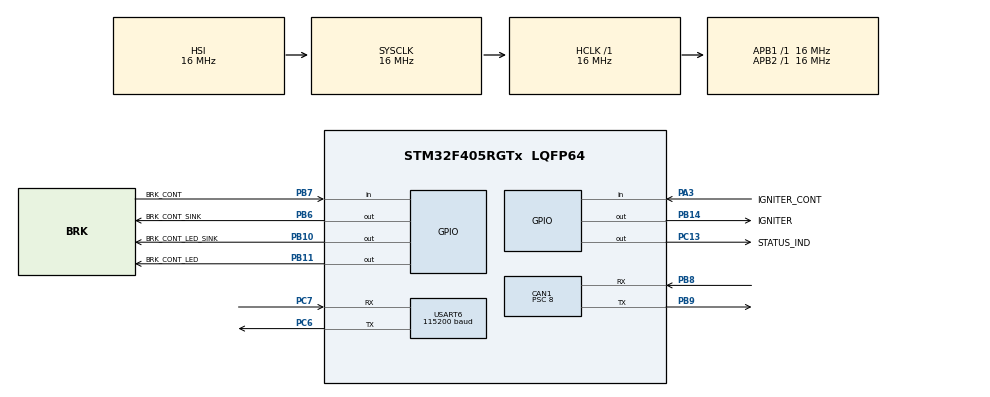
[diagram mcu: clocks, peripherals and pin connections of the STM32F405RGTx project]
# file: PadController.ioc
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CAN1.BS1=CAN_BS1_2TQ
CAN1.CalculateBaudRate=500000
CAN1.CalculateTimeBit=2000
CAN1.CalculateTimeQuantum=500.0
CAN1.Mode=CAN_MODE_NORMAL
CAN1.NART=ENABLE
CAN1.Prescaler=8
Mcu.Family=STM32F4
Mcu.Name=STM32F405RGTx
Mcu.Package=LQFP64
NVIC.CAN1_RX0_IRQn=true\:0\:0\:false\:false\:true\:true\:true\:true
NVIC.CAN1_TX_IRQn=true\:0\:0\:false\:false\:true\:true\:true\:true
NVIC.PriorityGroup=NVIC_PRIORITYGROUP_4
NVIC.USART6_IRQn=true\:0\:0\:false\:false\:true\:true\:true\:true
PA13.Mode=Serial_Wire
PA13.Signal=SYS_JTMS-SWDIO
PA14.Mode=Serial_Wire
PA14.Signal=SYS_JTCK-SWCLK
PA3.GPIO_Label=IGNITER_CONT
PA3.Signal=GPIO_Input
PB10.GPIO_Label=BRK_CONT_LED_SINK
PB10.Signal=GPIO_Output
PB11.GPIO_Label=BRK_CONT_LED
PB11.Signal=GPIO_Output
PB14.GPIO_Label=IGNITER
PB14.Signal=GPIO_Output
PB6.GPIO_Label=BRK_CONT_SINK
PB6.Signal=GPIO_Output
PB7.GPIO_Label=BRK_CONT
PB7.GPIO_PuPd=GPIO_PULLUP
PB7.Signal=GPIO_Input
PB8.Mode=CAN_Activate
PB8.Signal=CAN1_RX
PB9.Mode=CAN_Activate
PB9.Signal=CAN1_TX
PC13-ANTI_TAMP.GPIO_Label=STATUS_IND
PC13-ANTI_TAMP.Signal=GPIO_Output
PC6.GPIO_Speed=GPIO_SPEED_FREQ_LOW
PC6.Mode=Asynchronous
PC6.Signal=USART6_TX
PC7.GPIO_Speed=GPIO_SPEED_FREQ_LOW
PC7.Mode=Asynchronous
PC7.Signal=USART6_RX
ProjectManager.HeapSize=0x200
ProjectManager.StackSize=0x400
ProjectManager.TargetToolchain=STM32CubeIDE
RCC.AHBFreq_Value=16000000
RCC.APB1Freq_Value=16000000
RCC.APB2Freq_Value=16000000
RCC.CortexFreq_Value=16000000
RCC.HSE_VALUE=25000000
RCC.HSI_VALUE=16000000
RCC.LSE_VALUE=32768
RCC.SYSCLKFreq_VALUE=16000000
RCC.VCOOutputFreq_Value=192000000
USART6.BaudRate=115200
USART6.VirtualMode=VM_ASYNC
board=custom

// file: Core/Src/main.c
/* USER CODE BEGIN Header */
/**
 ******************************************************************************
 * @file            : main.c
 * @brief           : Main program body
 ******************************************************************************
 * @attention
 *
 * Copyright (c) 2025 STMicroelectronics.
 * All rights reserved.
 *
 * This software is licensed under terms that can be found in the LICENSE file
 * in the root directory of this software component.
 * If no LICENSE file comes with this software, it is provided AS-IS.
 *
 ******************************************************************************
 */
/* USER CODE END Header */
#include "main.h"

/* USER CODE BEGIN Includes */
#include <stdio.h>  // For printf, if used for debugging
#include <string.h> // For strlen, etc.
#include "stdbool.h"
#include "config/config.h"
#include "utils/board_utils.h"
#include "utils/can_utils.h"
// #include "utils/radio_utils.h" // XBee specific includes are used instead
#include "config/servo_config.h"
#include "config/heater_config.h"
#include "config/thermo_config.h"
#include "PC_state.h"
#include "igniter.h"

// XBee radio includes
#include "stm32/platform_config.h"    // Defines xbee_serial_t, XBEE_FRAME_HANDLERS, etc.
#include "stm32/xbee_platform_uart.h" // For xbee_platform_init, xbee_platform_serial, xbee_uart_isr
#include "stm32/xbee_actions.h"       // For xbee_frame_handlers, xbee_rx_packet_available/dequeue
#include "stm32/xbee_handler.h"       // For XBeeRxFrame_t, xbee_handler_*, etc.
#include "xbee/platform.h"            // Core XBee library platform types
#include "xbee/device.h"              // For xbee_dev_t, xbee_device_init, xbee_dev_tick etc.
#include "xbee/atcmd.h"               // For AT command interface, xbee_cmd_tick, xbee_next_frame_id
#include "xbee/byteorder.h"           // For htobe16(), etc.
#include "xbee/wpan.h"                // For WPAN_IEEE_ADDR_BROADCAST, etc.
#include <errno.h>                    // For error codes like ENOSPC, ETIMEDOUT
/* USER CODE END Includes */

/* USER CODE BEGIN PD */
#define NUM_BOARDS 8
#define XBEE_DEVICE_INIT_TIMEOUT_MS 10000 // Timeout for XBee library initial handshake with module
#define XBEE_AT_COMMAND_TIMEOUT_MS  5000  // Default timeout for AT commands sent via handler

#define MAX_CONSECUTIVE_XBEE_TX_FAILS 10
#define XBEE_RETRY_PERIOD_MS 10000
#define PERIODIC_ACK_INTERVAL_MS 1000
#define ACK_PENDING_TIMEOUT_MS 5000 // Timeout for an ACK waiting for TX status

// --- Define Target XBee Address ---
// Replace with your actual target XBee's 64-bit IEEE address (MSB first)

// Target XBee 1 (Commented out)
//0013A20041B3F9C6
//#define TARGET_XBEE_ADDR_64_B0 0x00 // Example byte 0 (MSB)
//#define TARGET_XBEE_ADDR_64_B1 0x13 // Example byte 1
//#define TARGET_XBEE_ADDR_64_B2 0xA2 // Example byte 2
//#define TARGET_XBEE_ADDR_64_B3 0x00 // Example byte 3
//#define TARGET_XBEE_ADDR_64_B4 0x41 // Example byte 4
//#define TARGET_XBEE_ADDR_64_B5 0xB3 // Example byte 5
//#define TARGET_XBEE_ADDR_64_B6 0xF9 // Example byte 6
//#define TARGET_XBEE_ADDR_64_B7 0xC6 // Example byte 7 (LSB)

// Target XBee 2 (Active)
//0013A2004238A3E3
#define TARGET_XBEE_ADDR_64_B0 0x00 // Example byte 0 (MSB)
#define TARGET_XBEE_ADDR_64_B1 0x13 // Example byte 1
#define TARGET_XBEE_ADDR_64_B2 0xA2 // Example byte 2
#define TARGET_XBEE_ADDR_64_B3 0x00 // Example byte 3
#define TARGET_XBEE_ADDR_64_B4 0x42 // Example byte 4
#define TARGET_XBEE_ADDR_64_B5 0x38 // Example byte 5
#define TARGET_XBEE_ADDR_64_B6 0xA3 // Example byte 6
#define TARGET_XBEE_ADDR_64_B7 0xE3 // Example byte 7 (LSB)

#define TARGET_XBEE_ADDR_16 WPAN_NET_ADDR_UNDEFINED // 0xFFFE, usually means use 64-bit address for routing
/* USER CODE END PD */

CAN_HandleTypeDef hcan1;

UART_HandleTypeDef huart6;

/* USER CODE BEGIN PV */
// Debug variables (user-defined)
// static volatile uint32_t dbg_cr1;
// volatile uint32_t dbg_iser;
// volatile bool     dbg_rxneie;
// volatile bool     dbg_irqn;
// volatile uint32_t dbg_lib_AP;
// volatile uint16_t dbg_xbee_flags;

// Global XBee communication state variables
volatile bool g_xbee_target_unreachable = false;
volatile uint32_t g_xbee_tx_fail_count = 0;
volatile uint8_t g_periodic_ack_frame_id = 0; // Stores the frame_id of the last periodic ACK sent. 0 means no ACK is pending TX status.
volatile uint32_t g_ack_pending_timestamp = 0; // Timestamp for when an ACK started waiting for TX status
volatile bool_t g_request_uart6_reinit = false;

static xbee_dev_t   xbee;

uint32_t board_uid[3];
bool servos_activated = 0;

uint32_t* no2_board_uid;
uint32_t* no3_board_uid;
uint32_t* no4_board_uid;
uint32_t* pyro_board_uid;
uint32_t* pt01_board_uid;
uint32_t* pt03_board_uid;
uint32_t* pt05_board_uid;
uint32_t* fc01_board_uid;

uint32_t no2_can_id;
uint32_t no3_can_id;
uint32_t no4_can_id;
uint32_t pyro_can_id;
uint32_t pt01_can_id;
uint32_t pt03_can_id;
uint32_t pt05_can_id;
uint32_t fc01_can_id;

uint32_t board_can_ids[NUM_BOARDS];

uint32_t current_time_ms = 0;
uint32_t prev_ack_send_time_ms = 0;
uint32_t servo_can_id;

XBeeRxFrame_t current_received_xbee_frame;
static uint8_t short_board_id;

static const addr64 g_target_xbee_ieee_addr = {
    .b = {TARGET_XBEE_ADDR_64_B0, TARGET_XBEE_ADDR_64_B1, TARGET_XBEE_ADDR_64_B2, TARGET_XBEE_ADDR_64_B3,
          TARGET_XBEE_ADDR_64_B4, TARGET_XBEE_ADDR_64_B5, TARGET_XBEE_ADDR_64_B6, TARGET_XBEE_ADDR_64_B7}
};
static const uint16_t g_target_xbee_network_addr = TARGET_XBEE_ADDR_16;

uint8_t ack_byte_value;
uint8_t tx_ack_payload[1];
uint8_t last_command_received = 0xFF; // Stores the last command byte received via XBee

/* USER CODE END PV */

void SystemClock_Config(void);
static void MX_GPIO_Init(void);
static void MX_CAN1_Init(void);
static void MX_USART6_UART_Init(void);
/* USER CODE BEGIN PFP */
// Recommendation: Implement an Independent Watchdog (IWDG) and pet it in the main loop
// void IWDG_Init(void); // Example
// void IWDG_Refresh(void); // Example
/* USER CODE END PFP */

/* USER CODE BEGIN 0 */

static void send_pad_status_response(const XBeeRxFrame_t* originating_frame, uint8_t status_code) {
    if (!originating_frame) return;

    // Before sending any response, check if the target (original sender) is considered reachable.
    // This is a simplified check. For a multi-device system, you'd need per-device reachability.
    // For now, we assume responses are critical and attempt them, but this could be expanded.
    // if (g_xbee_target_unreachable) {
    //     // printf("Target for response is currently marked unreachable. Skipping response.\r\n");
    //     return;
    // }

    uint8_t response_payload[1];
    response_payload[0] = status_code;

    int send_status = xbee_handler_send_data_frame(&xbee,
                                       &originating_frame->source_addr_64,
                                       originating_frame->source_addr_16,
                                       response_payload,
                                       sizeof(response_payload),
                                       0,
                                       XBEE_HANDLER_TX_OPT_NONE);
    if (send_status < 0) {
        // Failed to queue the response.
        // This is a non-critical response, so we might not increment global failure counters
        // unless this becomes a persistent issue.
        // printf("Error sending pad status response: %d\r\n", send_status);
    }
}

void PAD_CONTROLLER_SETUP_ROUTINE (uint32_t* board_can_ids, uint8_t numBoards){
  HAL_GPIO_TogglePin(STATUS_IND_GPIO_Port, STATUS_IND_Pin);
  HAL_Delay(500);
  HAL_GPIO_TogglePin(STATUS_IND_GPIO_Port, STATUS_IND_Pin);

  FLASH_ALL (board_can_ids, numBoards);
}

static void process_pad_controller_command(XBeeRxFrame_t* received_xbee_frame) {
    if (received_xbee_frame == NULL || received_xbee_frame->length == 0) {
        return;
    }
    uint8_t command = received_xbee_frame->payload[0];
    HAL_GPIO_TogglePin(STATUS_IND_GPIO_Port, STATUS_IND_Pin);
    switch (command) {
        case SIGNAL_ALL:
            FLASH_ALL (board_can_ids, NUM_BOARDS);
            break;
        case REPORT_ALL:
            break;
        case ACTIVATE_SERVOS:
            servos_activated = 1;
            break;
        case DEACTIVATE_SERVOS:
            servos_activated = 0;
            break;
        case OPEN_NO2:
            if (servos_activated) {
                Update_Ack(&ack_byte_value, 5, 0);
                servo_can_id = GET_SERVO_CAN_ID (no2_board_uid, 1);
                ACTUATE_SERVO(servo_can_id, OPEN_SERVO);
            }
            break;
        case CLOSE_NO2:
            if (servos_activated) {
                Update_Ack(&ack_byte_value, 5, 1);
                servo_can_id = GET_SERVO_CAN_ID (no2_board_uid, 1);
                ACTUATE_SERVO(servo_can_id, CLOSE_SERVO);
            }
            break;
        case OPEN_NO3:
            if (servos_activated) {
                Update_Ack(&ack_byte_value, 4, 0);
                servo_can_id = GET_SERVO_CAN_ID (no3_board_uid, 1);
                ACTUATE_SERVO(servo_can_id, OPEN_SERVO);
            }
            break;
        case CLOSE_NO3:
            if (servos_activated) {
                Update_Ack(&ack_byte_value, 4, 1);
                servo_can_id = GET_SERVO_CAN_ID (no3_board_uid, 1);
                ACTUATE_SERVO(servo_can_id, CLOSE_SERVO);
            }
            break;
        case OPEN_NO4:
            if (servos_activated) {
                Update_Ack(&ack_byte_value, 3, 0);
                servo_can_id = GET_SERVO_CAN_ID (no4_board_uid, 1);
                ACTUATE_SERVO(servo_can_id, OPEN_SERVO);
            }
            break;
        case CLOSE_NO4:
            if (servos_activated) {
                Update_Ack(&ack_byte_value, 3, 1);
                servo_can_id = GET_SERVO_CAN_ID (no4_board_uid, 1);
                ACTUATE_SERVO(servo_can_id, CLOSE_SERVO);
            }
            break;
        case OPEN_PYRO:
            if (servos_activated) {
                Update_Ack(&ack_byte_value, 1, 0);
                servo_can_id = GET_SERVO_CAN_ID (pyro_board_uid, 1);
                ACTUATE_SERVO(servo_can_id, OPEN_SERVO);
            }
            break;
        case CLOSE_PYRO:
            if (servos_activated) {
                Update_Ack(&ack_byte_value, 1, 1);
                servo_can_id = GET_SERVO_CAN_ID (pyro_board_uid, 1);
                ACTUATE_SERVO(servo_can_id, CLOSE_SERVO);
            }
            break;
        case CMD_BOARD_STATUS_REQUEST:
        	Report_All_PadController_States();
        	STATUS_ALL_Start();
        	break;
        case MSG_TYPE_RESET:
        	NVIC_SystemReset();
        default:
            break;
    }
}

void send_pad_controller_status_can(uint8_t component_type, uint8_t status_byte) {
    uint8_t instance = 0; // Usually instance 0 for these statuses
    uint32_t can_id_29bit;
    uint8_t xbee_payload[4 + 1]; // 4 bytes ID + 1 byte data
    size_t xbee_payload_len = 5;
    uint32_t can_id_for_xbee_32bit;

    // 1. Build the 32-bit CAN ID
    // Sender=PadCtrl(1), Board=ControlPanel(5), CompType=variable, Inst=0
    can_id_for_xbee_32bit = build_can_extended_id(
		short_board_id,
		SENDER_CONTROL_PANEL,
        component_type,
        instance
    );

//    // 2. Convert to 32-bit shifted format for XBee payload
//    can_id_for_xbee_32bit = can_id_29bit << 3;

    // 3. Populate XBee payload buffer (Big Endian)
    xbee_payload[0] = (uint8_t)((can_id_for_xbee_32bit >> 24) & 0xFF);
    xbee_payload[1] = (uint8_t)((can_id_for_xbee_32bit >> 16) & 0xFF);
    xbee_payload[2] = (uint8_t)((can_id_for_xbee_32bit >> 8) & 0xFF);
    xbee_payload[3] = (uint8_t)(can_id_for_xbee_32bit & 0xFF);
    xbee_payload[4] = status_byte; // Data payload

    // 4. Send via XBee
    // Use Frame ID 0 for no specific TX status needed for broadcasts
    int send_status = xbee_handler_send_byte_array(
        &xbee,
        &g_target_xbee_ieee_addr,
        g_target_xbee_network_addr,
        xbee_payload,
        xbee_payload_len,
        0, // Frame ID 0
        0  // Options
    );

    if (send_status < 0) {
        // Log XBee send error (implement your logging)
        // printf("Error sending CAN status type %d via XBee: %d\n", component_type, send_status);
    } else {
        // Log success if needed
        // printf("Sent CAN status type %d via XBee.\n", component_type);
    }
}

void send_servos_power_status_can(bool is_on) {
    uint8_t status_byte = is_on ? 1 : 0;
    send_pad_controller_status_can(MSG_TYPE_SERVOS_POWER_STATUS, status_byte);
}

void Report_All_PadController_States(void) {
    // Call each individual sender function
    send_breakwire_status_can(isAutoArmed);
    send_igniter_status_can(igniterState);
    // Determine 'auto mode on' based on pcState
    send_auto_mode_status_can(pcState == PC_AUTO_ON || pcState == PC_DELAY || pcState == PC_FIRE || pcState == PC_OPEN);
    send_servos_power_status_can(servos_activated);
    send_pc_state_can(pcState);

    // TODO: Add calls to report status for other components managed by Pad Controller if any
}

/* USER CODE END 0 */

int main(void)
{

  /* MCU Configuration--------------------------------------------------------*/

  /* Reset of all peripherals, Initializes the Flash interface and the Systick. */
  HAL_Init();

  /* Configure the system clock */
  SystemClock_Config();

  /* USER CODE BEGIN SysInit */
  // Recommendation: Initialize Independent Watchdog (IWDG) here if used
  // MX_IWDG_Init(); // Assuming you have this function if IWDG is enabled in CubeMX
  /* USER CODE END SysInit */

  /* Initialize all configured peripherals */
  MX_GPIO_Init();
  MX_CAN1_Init();
  MX_USART6_UART_Init();
  /* USER CODE BEGIN 2 */
  HAL_GPIO_TogglePin(STATUS_IND_GPIO_Port, STATUS_IND_Pin);
  HAL_Delay(3000); // Initial status indication
  HAL_GPIO_TogglePin(STATUS_IND_GPIO_Port, STATUS_IND_Pin);

  // Enable UsageFault, BusFault, and MemManage Faults
  SCB->SHCSR |= SCB_SHCSR_USGFAULTENA_Msk
              |  SCB_SHCSR_BUSFAULTENA_Msk
              |  SCB_SHCSR_MEMFAULTENA_Msk;

  GET_BOARD_UID (board_uid);
  short_board_id = GET_SHORT_BOARD_ID(board_uid);

  // --- CAN Initialization ---
  if (HAL_CAN_ActivateNotification(&hcan1, CAN_IT_RX_FIFO0_MSG_PENDING | CAN_IT_TX_MAILBOX_EMPTY) != HAL_OK)
  {
      Error_Handler();
  }

  CAN_FilterTypeDef canfilterconfig;
  canfilterconfig.FilterActivation = CAN_FILTER_ENABLE;
  canfilterconfig.FilterBank = 0;
  canfilterconfig.FilterFIFOAssignment = CAN_FILTER_FIFO0;
  canfilterconfig.FilterMode = CAN_FILTERMODE_IDMASK;
  canfilterconfig.FilterScale = CAN_FILTERSCALE_32BIT;
  canfilterconfig.FilterIdHigh = 0x0000;
  canfilterconfig.FilterIdLow = 0x0000;
  canfilterconfig.FilterMaskIdHigh = 0x0000;
  canfilterconfig.FilterMaskIdLow = 0x0000;
  if (HAL_CAN_ConfigFilter(&hcan1, &canfilterconfig) != HAL_OK)
  {
      Error_Handler();
  }
  if (HAL_CAN_Start(&hcan1) != HAL_OK)
  {
      Error_Handler();
  }

  // --- UART Interrupt Priority for XBee ---
  // Ensure USART6 interrupt is enabled with appropriate priority
  // This is crucial for timely processing of RX data and errors.
  HAL_NVIC_SetPriority(USART6_IRQn, 5, 0); // Priority 5, Subpriority 0
  HAL_NVIC_EnableIRQ(USART6_IRQn);

  HAL_Delay(10); // Small delay before XBee initialization

  // --- Initial XBee Platform and Device Initialization ---
  xbee_platform_config(&huart6, 115200);
  xbee_platform_init(); // This calls xbee_ser_open for the first time for huart6

  // Initialize the XBee device structure
  // The 'always_awake' variable is defined in USER CODE BEGIN PV
  xbee_dev_init(&xbee, xbee_platform_serial(), (bool_t)always_awake, NULL);
  xbee_dev_flowcontrol(&xbee, 0); // Assuming no hardware flow control (0 = disabled)
  xbee_cmd_init_device(&xbee);    // Initialize AT command processor for this device

  // Initial check for XBee module readiness
  int status = 0;
  uint32_t init_start_time = HAL_GetTick();
  do {
      xbee_dev_tick(&xbee); // Allow XBee library to process incoming/outgoing data
      xbee_cmd_tick();      // Process AT command responses
      status = xbee_cmd_query_status(&xbee); // Query basic XBee status
      if ((HAL_GetTick() - init_start_time) > 5000) { // 5-second timeout
          // printf("Timeout waiting for initial XBee query status.\r\n"); // Requires printf retargeting
          Error_Handler(); // Or handle appropriately (e.g., log error, retry)
          break;
      }
  } while (status == -EBUSY); // -EBUSY is a typical "busy" response from XBee lib

  if (status != 0) {
      // printf("Initial XBee query status failed: %d\r\n", status);
      Error_Handler(); // Or handle appropriately
  }

  xbee_handler_init_rx_queue(); // Initialize your application's RX queue for XBee frames
  ack_byte_value = Create_Ack();
  prev_ack_send_time_ms = HAL_GetTick();
  g_periodic_ack_frame_id = 0; // Ensure it's initialized

  // --- Board and CAN ID Setup ---
  no2_board_uid = GET_BOARD_ID_FROM_PNID ("FV-N02");
  no3_board_uid = GET_BOARD_ID_FROM_PNID ("FV-N03");
  no4_board_uid = GET_BOARD_ID_FROM_PNID ("FV-N04");
  pyro_board_uid = GET_BOARD_ID_FROM_PNID ("FV-PYRO");
  pt01_board_uid = GET_BOARD_ID_FROM_PNID ("PT-01");
  pt03_board_uid = GET_BOARD_ID_FROM_PNID ("PT-03");
  pt05_board_uid = GET_BOARD_ID_FROM_PNID ("PT-05");
  fc01_board_uid = GET_BOARD_ID_FROM_PNID ("FC-01");

  no2_can_id = GET_CAN_ID_FROM_BOARD_UID (no2_board_uid);
  no3_can_id = GET_CAN_ID_FROM_BOARD_UID (no3_board_uid);
  no4_can_id = GET_CAN_ID_FROM_BOARD_UID (no4_board_uid);
  pyro_can_id = GET_CAN_ID_FROM_BOARD_UID (pyro_board_uid);
  pt01_can_id = GET_CAN_ID_FROM_BOARD_UID (pt01_board_uid);
  pt03_can_id = GET_CAN_ID_FROM_BOARD_UID (pt03_board_uid);
  pt05_can_id = GET_CAN_ID_FROM_BOARD_UID (pt05_board_uid);
  fc01_can_id = GET_CAN_ID_FROM_BOARD_UID (fc01_board_uid);

  board_can_ids[0] = no2_can_id;
  board_can_ids[1] = no3_can_id;
  board_can_ids[2] = no4_can_id;
  board_can_ids[3] = pyro_can_id;
  board_can_ids[4] = pt01_can_id;
  board_can_ids[5] = pt03_can_id;
  board_can_ids[6] = pt05_can_id;
  board_can_ids[7] = fc01_can_id;

  PAD_CONTROLLER_SETUP_ROUTINE (board_can_ids, NUM_BOARDS);
  /* USER CODE END 2 */

  /* Infinite loop */
  while (1)
  {

    /* USER CODE BEGIN 3 */
    // --- Regular XBee Processing and Application Logic ---
    xbee_dev_tick(&xbee); // Processes XBee library events, RX data, TX status
	xbee_cmd_tick();      // Processes AT command responses
    xbee_handler_service_rx_from_library(); // Moves received data to application queue

    if (xbee_handler_is_rx_frame_available()) {
        if (xbee_handler_rx_frame_dequeue(&current_received_xbee_frame)) {
            if (current_received_xbee_frame.length > 0) {
                // Assuming payload[0] is the command byte
                last_command_received = current_received_xbee_frame.payload[0];
            } else {
                last_command_received = 0xFF; // Indicate no valid command or empty frame
            }
            process_pad_controller_command(&current_received_xbee_frame);
        }
    }

    Tick_Igniter(last_command_received, &ack_byte_value);
    PadController_Tick(last_command_received, pyro_board_uid, &ack_byte_value);
    Tick_Breakwire_LED();

    current_time_ms = HAL_GetTick(); // Update current time
    FLASH_ALL (board_can_ids, NUM_BOARDS);
    STATUS_ALL_Process(board_can_ids); // Corrected function name based on your snippet
  }
  /* USER CODE END 3 */
}

void SystemClock_Config(void)
{
  RCC_OscInitTypeDef RCC_OscInitStruct = {0};
  RCC_ClkInitTypeDef RCC_ClkInitStruct = {0};

  /** Configure the main internal regulator output voltage
  */
  __HAL_RCC_PWR_CLK_ENABLE();
  __HAL_PWR_VOLTAGESCALING_CONFIG(PWR_REGULATOR_VOLTAGE_SCALE1);

  /** Initializes the RCC Oscillators according to the specified parameters
  * in the RCC_OscInitTypeDef structure.
  */
  RCC_OscInitStruct.OscillatorType = RCC_OSCILLATORTYPE_HSI;
  RCC_OscInitStruct.HSIState = RCC_HSI_ON;
  RCC_OscInitStruct.HSICalibrationValue = RCC_HSICALIBRATION_DEFAULT;
  RCC_OscInitStruct.PLL.PLLState = RCC_PLL_NONE;
  if (HAL_RCC_OscConfig(&RCC_OscInitStruct) != HAL_OK)
  {
    Error_Handler();
  }

  /** Initializes the CPU, AHB and APB buses clocks
  */
  RCC_ClkInitStruct.ClockType = RCC_CLOCKTYPE_HCLK|RCC_CLOCKTYPE_SYSCLK
                              |RCC_CLOCKTYPE_PCLK1|RCC_CLOCKTYPE_PCLK2;
  RCC_ClkInitStruct.SYSCLKSource = RCC_SYSCLKSOURCE_HSI;
  RCC_ClkInitStruct.AHBCLKDivider = RCC_SYSCLK_DIV1;
  RCC_ClkInitStruct.APB1CLKDivider = RCC_HCLK_DIV1;
  RCC_ClkInitStruct.APB2CLKDivider = RCC_HCLK_DIV1;

  if (HAL_RCC_ClockConfig(&RCC_ClkInitStruct, FLASH_LATENCY_0) != HAL_OK)
  {
    Error_Handler();
  }
}

static void MX_CAN1_Init(void)
{

  hcan1.Instance = CAN1;
  hcan1.Init.Prescaler = 8;
  hcan1.Init.Mode = CAN_MODE_NORMAL;
  hcan1.Init.SyncJumpWidth = CAN_SJW_1TQ;
  hcan1.Init.TimeSeg1 = CAN_BS1_2TQ;
  hcan1.Init.TimeSeg2 = CAN_BS2_1TQ;
  hcan1.Init.TimeTriggeredMode = DISABLE;
  hcan1.Init.AutoBusOff = DISABLE;
  hcan1.Init.AutoWakeUp = DISABLE;
  hcan1.Init.AutoRetransmission = ENABLE;
  hcan1.Init.ReceiveFifoLocked = DISABLE;
  hcan1.Init.TransmitFifoPriority = DISABLE;
  if (HAL_CAN_Init(&hcan1) != HAL_OK)
  {
    Error_Handler();
  }

}

static void MX_USART6_UART_Init(void)
{

  huart6.Instance = USART6;
  huart6.Init.BaudRate = 115200;
  huart6.Init.WordLength = UART_WORDLENGTH_8B;
  huart6.Init.StopBits = UART_STOPBITS_1;
  huart6.Init.Parity = UART_PARITY_NONE;
  huart6.Init.Mode = UART_MODE_TX_RX;
  huart6.Init.HwFlowCtl = UART_HWCONTROL_NONE;
  huart6.Init.OverSampling = UART_OVERSAMPLING_16;
  if (HAL_UART_Init(&huart6) != HAL_OK)
  {
    Error_Handler();
  }

}

static void MX_GPIO_Init(void)
{
  GPIO_InitTypeDef GPIO_InitStruct = {0};

  /* GPIO Ports Clock Enable */
  __HAL_RCC_GPIOC_CLK_ENABLE();
  __HAL_RCC_GPIOA_CLK_ENABLE();
  __HAL_RCC_GPIOB_CLK_ENABLE();

  /*Configure GPIO pin Output Level */
  HAL_GPIO_WritePin(STATUS_IND_GPIO_Port, STATUS_IND_Pin, GPIO_PIN_RESET);

  /*Configure GPIO pin Output Level */
  HAL_GPIO_WritePin(GPIOB, BRK_CONT_LED_SINK_Pin|BRK_CONT_LED_Pin|IGNITER_Pin|BRK_CONT_SINK_Pin, GPIO_PIN_RESET);

  /*Configure GPIO pin : STATUS_IND_Pin */
  GPIO_InitStruct.Pin = STATUS_IND_Pin;
  GPIO_InitStruct.Mode = GPIO_MODE_OUTPUT_PP;
  GPIO_InitStruct.Pull = GPIO_NOPULL;
  GPIO_InitStruct.Speed = GPIO_SPEED_FREQ_LOW;
  HAL_GPIO_Init(STATUS_IND_GPIO_Port, &GPIO_InitStruct);

  /*Configure GPIO pin : IGNITER_CONT_Pin */
  GPIO_InitStruct.Pin = IGNITER_CONT_Pin;
  GPIO_InitStruct.Mode = GPIO_MODE_INPUT;
  GPIO_InitStruct.Pull = GPIO_NOPULL;
  HAL_GPIO_Init(IGNITER_CONT_GPIO_Port, &GPIO_InitStruct);

  /*Configure GPIO pins : BRK_CONT_LED_SINK_Pin BRK_CONT_LED_Pin IGNITER_Pin BRK_CONT_SINK_Pin */
  GPIO_InitStruct.Pin = BRK_CONT_LED_SINK_Pin|BRK_CONT_LED_Pin|IGNITER_Pin|BRK_CONT_SINK_Pin;
  GPIO_InitStruct.Mode = GPIO_MODE_OUTPUT_PP;
  GPIO_InitStruct.Pull = GPIO_NOPULL;
  GPIO_InitStruct.Speed = GPIO_SPEED_FREQ_LOW;
  HAL_GPIO_Init(GPIOB, &GPIO_InitStruct);

  /*Configure GPIO pin : BRK_CONT_Pin */
  GPIO_InitStruct.Pin = BRK_CONT_Pin;
  GPIO_InitStruct.Mode = GPIO_MODE_INPUT;
  GPIO_InitStruct.Pull = GPIO_PULLUP;
  HAL_GPIO_Init(BRK_CONT_GPIO_Port, &GPIO_InitStruct);

}

/* USER CODE BEGIN 4 */
void HAL_CAN_RxFifo0MsgPendingCallback(CAN_HandleTypeDef *hcan)
{
	CAN_RxHeaderTypeDef RxHeader;
	uint8_t RxData[8]; // Max CAN data length = 8 bytes

	if (HAL_CAN_GetRxMessage(hcan, CAN_RX_FIFO0, &RxHeader, RxData) != HAL_OK) {
		// Log error or use Error_Handler();
		return;
	}

	// --- Process only Extended ID messages ---
	if (RxHeader.IDE != CAN_ID_EXT) {
		return; // Ignore standard ID messages
	}

	// The 29-bit ID received from the header
	uint32_t received_id_29bit = RxHeader.ExtId;

	// --- Check if the message is an ACK (using the MSB = bit 28) ---
	bool is_incoming_ack = (received_id_29bit & CAN_ID_ACK_FLAG_29BIT) != 0;

	// --- Parse the ID fields ---
	// (parse_can_extended_id ignores the ACK bit itself if it uses masks correctly)
	uint8_t sender, board_id, msg_type, instance;
	parse_can_extended_id(received_id_29bit, &sender, &board_id, &msg_type, &instance);

    if (is_incoming_ack){
		// Construct the payload for XBee: 4-byte CAN ID (shifted) + CAN Data
		uint8_t xbee_payload[4 + 8]; // Max size: 4 bytes ID + 8 bytes data
		size_t xbee_payload_len = 4 + RxHeader.DLC; // Total length

		// Ensure DLC is valid before proceeding
		if (RxHeader.DLC > 8) {
			 // Invalid CAN DLC, handle error or ignore
			 return;
		}

		// 1. Get the 32-bit shifted CAN ID representation (as expected by Python side)
		//    This includes the ACK flag already set in received_id_29bit
		uint32_t can_id_for_xbee_32bit = received_id_29bit << 3;

		// 2. Copy CAN ID into XBee payload buffer (Big Endian)
		xbee_payload[0] = (uint8_t)((can_id_for_xbee_32bit >> 24) & 0xFF);
		xbee_payload[1] = (uint8_t)((can_id_for_xbee_32bit >> 16) & 0xFF);
		xbee_payload[2] = (uint8_t)((can_id_for_xbee_32bit >> 8) & 0xFF);
		xbee_payload[3] = (uint8_t)(can_id_for_xbee_32bit & 0xFF);

		// 3. Copy CAN Data payload (if any)
		if (RxHeader.DLC > 0) {
			memcpy(&xbee_payload[4], RxData, RxHeader.DLC);
		}

		// 4. Send the combined payload via XBee to the Pad Controller
		//    Using the assumed higher-level function for simplicity here.
		//    Using Frame ID 0 often means no TX status is requested or needed for this forward.
		//    Adjust parameters based on your actual XBee handler function.
		int send_status = xbee_handler_send_byte_array(&xbee, // XBee device instance
													   &g_target_xbee_ieee_addr, // Target 64-bit Addr
													   g_target_xbee_network_addr,     // Target 16-bit Addr (0xFFFE)
													   xbee_payload,                     // Data to send
													   xbee_payload_len,                 // Length of data
													   0,                                // Frame ID (0 = No TX Status)
													   0);                               // Options (e.g., XBEE_HANDLER_TX_OPT_NONE)

		if (send_status < 0) {
		// Handle XBee transmission failure (e.g., log error, queue full?)
		// printf("Failed to forward CAN ACK (ID: 0x%08lX) via XBee, status: %d\r\n", received_id_29bit, send_status);
		} else {
			// Message successfully queued for XBee transmission
			// printf("Forwarded CAN ACK (ID: 0x%08lX) via XBee.\r\n", received_id_29bit);
		}
    }
}

void HAL_CAN_TxMailbox0CompleteCallback(CAN_HandleTypeDef *hcan)
{
//    STATUS_IND_Toggle();
}

/* USER CODE END 4 */

void Error_Handler(void)
{
  __disable_irq();
  while (1)
  {
  }
}

#ifdef  USE_FULL_ASSERT
/**
  * @brief  Reports the name of the source file and the source line number
  *         where the assert_param error has occurred.
  * @param  file: pointer to the source file name
  * @param  line: assert_param error line source number
  * @retval None
  */
void assert_failed(uint8_t *file, uint32_t line)
{
  /* USER CODE BEGIN 6 */
  /* User can add his own implementation to report the file name and line number,
     ex: printf("Wrong parameters value: file %s on line %d\r\n", file, line) */
  // printf("Wrong parameters value: file %s on line %lu\r\n", (char *)file, line);
  Error_Handler();
  /* USER CODE END 6 */
}
#endif /* USE_FULL_ASSERT */
